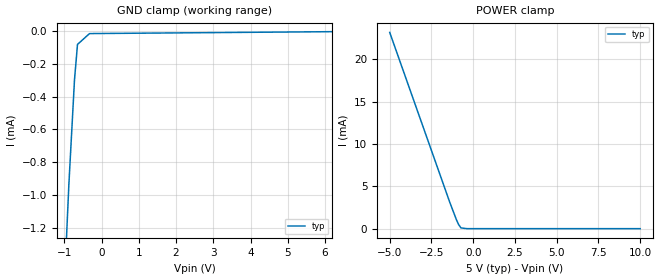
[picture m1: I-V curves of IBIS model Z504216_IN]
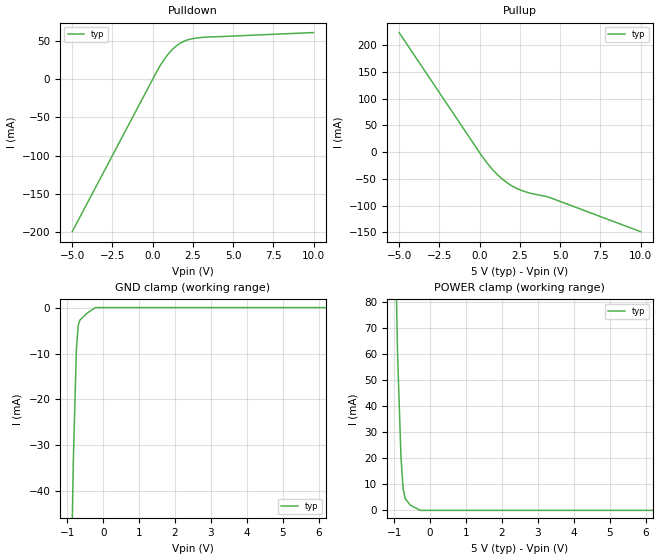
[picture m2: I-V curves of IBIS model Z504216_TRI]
| YOU ARE ONLY AUTHORIZED TO USE THIS SOFTWARE
| ACCORDING TO LICENSOR'S LICENSE RESTRICTIONS.
[IBIS Ver] 3.1
[File Name] mc74hc368dw.ibs
[File Rev] 2.0
[Source] Measured and created by ICX Technology
[Date] Friday 7/14/00 9:08:09 AM
[Copyright]
| (C) COPYRIGHT 1993-2000
| MENTOR GRAPHICS CORPORATION
| ICX STANDARD LIBRARY, ICX PROJECT MODELING,
| ICX CUSTOM MODELING, ICX VENDOR MODEL
| ALL RIGHTS RESERVED.
| THE FOLLOWING ARE TRADEMARKS OR SERVICE MARKS OF
| MENTOR GRAPHICS CORPORATION:ICX (R), ICX STANDARD
| LIBRARY(R), ICX PROJECT MODELING(R), ICX CUSTOM
| MODELING(R), qualityIBIS(TM), MODELVIEWER(TM),
| AND MODELEDITOR(TM)
| ALL COPIES OF SOFTWARE, INCLUDING BUT NOT LIMITED TO
| ANY MODIFICATIONS, ENHANCEMENTS OR DERIVATIVE WORKS,
| MUST CONTAIN ALL MENTOR GRAPHICS CORPORATION'S
| NOTICES AND LEGENDS, INCLUDING THOSE EMBEDDED IN
| SOFTWARE AND THOSE AFFIXED TO SOFTWARE MEDIUM
| AND CONTAINER, AS RECEIVED FROM MENTOR GRAPHICS
| CORPORATION.
|  ZAP Model Builder 2.7
[Component] MC74HC368DW
[Manufacturer] OnSemiconductor
[Package]
| variable   typ   min   max
R_pkg  .176ohms NA NA
L_pkg  4.193nH NA NA
C_pkg  .603pF NA NA
[Pin] signal_name  model_name  R_pin  L_pin C_pin
1 _G1 Z504216_IN .182 4.888n .648p
2 A0 Z504216_IN .178 4.418n .618p
3 _Y0 Z504216_TRI .174 3.958n .588p
4 A1 Z504216_IN .17 3.508n .558p
5 _Y1 Z504216_TRI .17 3.508n .558p
6 A2 Z504216_IN .174 3.958n .588p
7 _Y2 Z504216_TRI .178 4.418n .618p
8 GND GND .182 4.888n .648p
9 _Y3 Z504216_TRI .182 4.888n .648p
10 A3 Z504216_IN .178 4.418n .618p
11 _Y4 Z504216_TRI .174 3.958n .588p
12 A4 Z504216_IN .17 3.508n .558p
13 _Y5 Z504216_TRI .17 3.508n .558p
14 A5 Z504216_IN .174 3.958n .588p
15 _G2 Z504216_IN .178 4.418n .618p
16 VCC POWER .182 4.888n .648p
| Models and submodels in the file (2): Z504216_IN (Input), Z504216_TRI (3-state)
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| (C) COPYRIGHT 1993-2000
| MENTOR GRAPHICS CORPORATION
| ICX STANDARD LIBRARY, ICX PROJECT MODELING,
| ICX CUSTOM MODELING, ICX VENDOR MODEL
| ALL RIGHTS RESERVED.
| THE FOLLOWING ARE TRADEMARKS OR SERVICE MARKS OF
| MENTOR GRAPHICS CORPORATION:ICX (R), ICX STANDARD
| LIBRARY(R), ICX PROJECT MODELING(R), ICX CUSTOM
| MODELING(R), qualityIBIS(TM), MODELVIEWER(TM),
| AND MODELEDITOR(TM)
| ALL COPIES OF SOFTWARE, INCLUDING BUT NOT LIMITED TO
| ANY MODIFICATIONS, ENHANCEMENTS OR DERIVATIVE WORKS,
| MUST CONTAIN ALL MENTOR GRAPHICS CORPORATION'S
| NOTICES AND LEGENDS, INCLUDING THOSE EMBEDDED IN
| SOFTWARE AND THOSE AFFIXED TO SOFTWARE MEDIUM
| AND CONTAINER, AS RECEIVED FROM MENTOR GRAPHICS
| CORPORATION.
| Model Application Version 1.89 2/18/99.
[Model] Z504216_IN
Model_type Input
Vinl = 1.000V
Vinh = 3.500V
C_comp 4.000pF NA NA
| variable typ   min   max
[Voltage Range] 5.000V NA NA
[GND Clamp Reference] 0.000V NA NA
[POWER Clamp Reference] 5.000V NA NA
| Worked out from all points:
|   POWER clamp passes 1 mA (typ) near -0.99 V on its own axis
[GND Clamp]
-5V       -23.44mA   NA         NA
-1.356V   -3.372mA   NA         NA
-878.6mV  -936.5uA   NA         NA
-727.8mV  -298.1uA   NA         NA
-646.9mV  -80.12uA   NA         NA
-323.4mV  -14.06uA   NA         NA
10V       4.436uA    NA         NA
[POWER Clamp]
-5V       23.17mA    NA         NA
-1.401V   3.1mA      NA         NA
-1.002V   1.04mA     NA         NA
-868mV    465.9uA    NA         NA
-729mV    83.76uA    NA         NA
-364.5mV  0A         NA         NA
10V       0A         NA         NA
| (C) COPYRIGHT 1993-2000
| MENTOR GRAPHICS CORPORATION
| ICX STANDARD LIBRARY, ICX PROJECT MODELING,
| ICX CUSTOM MODELING, ICX VENDOR MODEL
| ALL RIGHTS RESERVED.
| THE FOLLOWING ARE TRADEMARKS OR SERVICE MARKS OF
| MENTOR GRAPHICS CORPORATION:ICX (R), ICX STANDARD
| LIBRARY(R), ICX PROJECT MODELING(R), ICX CUSTOM
| MODELING(R), qualityIBIS(TM), MODELVIEWER(TM),
| AND MODELEDITOR(TM)
| ALL COPIES OF SOFTWARE, INCLUDING BUT NOT LIMITED TO
| ANY MODIFICATIONS, ENHANCEMENTS OR DERIVATIVE WORKS,
| MUST CONTAIN ALL MENTOR GRAPHICS CORPORATION'S
| NOTICES AND LEGENDS, INCLUDING THOSE EMBEDDED IN
| SOFTWARE AND THOSE AFFIXED TO SOFTWARE MEDIUM
| AND CONTAINER, AS RECEIVED FROM MENTOR GRAPHICS
| CORPORATION.
| Model Application Version 1.89 2/18/99.
[Model] Z504216_TRI
Model_type 3-state
Vref=0.000V
Rref=500.0Mohms
Cref=50.00pF
Vmeas=2.500V
C_comp 8.000pF NA NA
| variable typ   min   max
[Voltage Range] 5.000V NA NA
[POWER Clamp Reference] 5.000V NA NA
[Pullup Reference] 5.000V NA NA
[Pulldown Reference] 0.000V NA NA
[GND Clamp Reference] 0.000V NA NA
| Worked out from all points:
|   slope of the pulldown table from 0 to 0.75 V, typ, clamps not added: 27.9 ohm
|   slope of the pullup table from 0 to 0.75 V, typ, clamps not added: 25.2 ohm
|   GND clamp passes 1 mA (typ) near -0.41 V on its own axis
[GND Clamp]
-5V       -1.993A    NA         NA
-834.8mV  -33.94mA   NA         NA
-747.1mV  -9.02mA    NA         NA
-697.6mV  -3.952mA   NA         NA
-654.9mV  -2.782mA   NA         NA
-448.7mV  -1.213mA   NA         NA
-224.4mV  0A         NA         NA
10V       0A         NA         NA
[Pulldown]
-5V       -199.1mA   NA         NA
293mV     11.68mA    NA         NA
757.5mV   27.1mA     NA         NA
1.01V     34.02mA    NA         NA
1.456V    43.29mA    NA         NA
2.03V     50.35mA    NA         NA
2.743V    53.86mA    NA         NA
10V       60.89mA    NA         NA
[Pullup]
-5V       223.3mA    NA         NA
117mV     -6.357mA   NA         NA
786mV     -32.13mA   NA         NA
1.562V    -54.21mA   NA         NA
2.11V     -64.96mA   NA         NA
2.695V    -72.78mA   NA         NA
4.282V    -84.13mA   NA         NA
10V       -148.7mA   NA         NA
[POWER Clamp]
-5V       3.456A     NA         NA
-1.05V    159.4mA    NA         NA
-906mV    59.78mA    NA         NA
-812mV    20.46mA    NA         NA
-751mV    8.214mA    NA         NA
-693mV    4.438mA    NA         NA
-548mV    1.986mA    NA         NA
-274mV    0A         NA         NA
10V       0A         NA         NA
[Ramp]
| variable typ min max
dV/dt_r 2.882/2.108n NA NA
dV/dt_f 2.882/1.283n NA NA
R_load = 500.0Ohms
